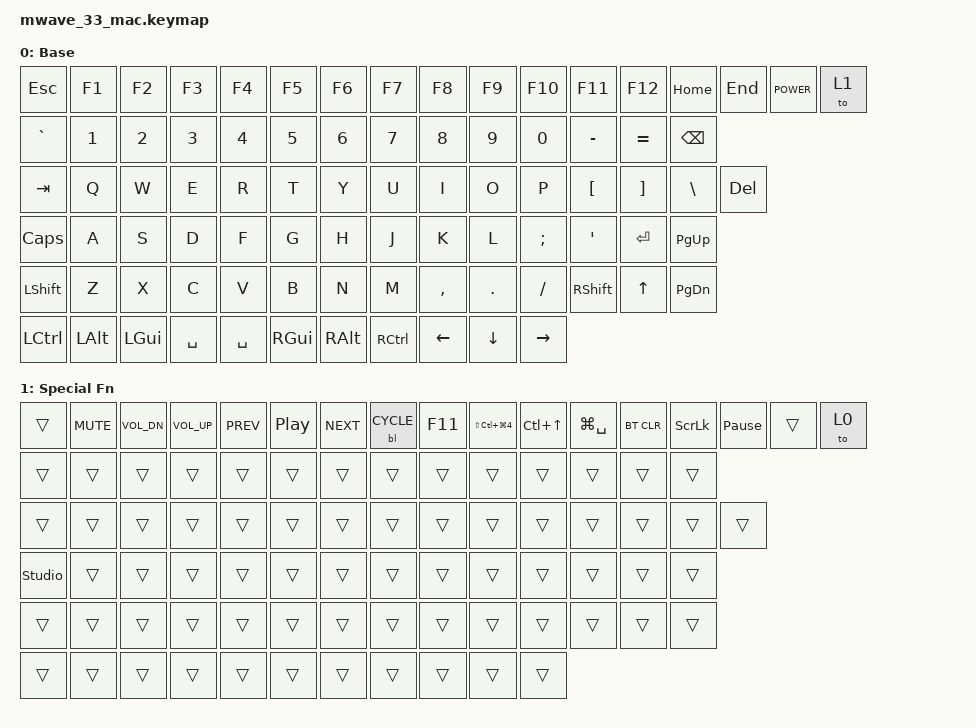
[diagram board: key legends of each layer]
#include <behaviors.dtsi>
#include <dt-bindings/zmk/backlight.h>
#include <dt-bindings/zmk/bt.h>
#include <dt-bindings/zmk/keys.h>
#include <dt-bindings/zmk/pointing.h>
#include <dt-bindings/zmk/outputs.h>
#include <dt-bindings/advertising_mode.h>
#include <behaviors/advertising_mode.dtsi>
#include <behaviors/stp_indicators.dtsi>
#include "studio-macros.dtsi"

/ {
    #include "mwave_prim.dtsi"

    keymap {
        compatible = "zmk,keymap";

        default_layer {
            display-name = "Base";

            // -------------------------------------------------------------------------------------------------------
            // | ESC | F1  | F2  | F3  | F4  | F5  | F6  | | F7  | F8  | F9  | F10 | F11 | F12 |HOME| END |PSCN|  1  |
            // |GRAVE|  1  |  2  |  3  |  4  |  5  |  6  | |   7   |  8  |  9  |  0  |  -  |  =  |    BKSP     | DEL |
            // | TAB    |  Q  |  W  |  E  |  R  |   T    | |   Y  |  U  |  I  |  O  |  P  |  [  |  ]  |   \    |     |
            // | CAPS     |  A  |  S  |  D  |  F  |  G   | |  H    |  J  |  K  |  L  |  ;  |  '  |    ENTER    | PGUP|
            // |   SHIFT   |  Z  |  X  |  C  |  V  |  B  | |    N    |  M  |  ,  |  .  |  /  |   SHIFT   | UP  | PGDN|
            // |  CTL  |  WIN  |  ALT  |      SPACE      | |      SPACE        | ALT | MENU |RCTRL| LEFT| DOWN |RIGHT|
            // -------------------------------------------------------------------------------------------------------

            bindings = <
&kp ESCAPE &kp F1        &kp F2        &kp F3        &kp F4     &kp F5         &kp F6         &kp F7     &kp F8     &kp F9    &kp F10    &kp F11    &kp F12    &kp HOME   &kp END  &kp K_POWER  &to 1
&kp GRAVE  &kp N1        &kp N2        &kp N3        &kp N4     &kp N5         &kp N6         &kp N7     &kp N8     &kp N9    &kp N0     &kp MINUS  &kp EQUAL  &kp BSPC
&kp TAB    &kp Q         &kp W         &kp E         &kp R      &kp T          &kp Y          &kp U      &kp I      &kp O     &kp P      &kp LBKT   &kp RBKT   &kp BSLH   &kp DEL
&kp CLCK   &kp A         &kp S         &kp D         &kp F      &kp G          &kp H          &kp J      &kp K      &kp L     &kp SEMI   &kp SQT    &kp RET    &kp PG_UP
&kp LSHFT  &kp Z         &kp X         &kp C         &kp V      &kp B          &kp N          &kp M      &kp COMMA  &kp DOT   &kp FSLH   &kp RSHFT  &kp UP     &kp PG_DN
&kp LCTRL  &kp LEFT_ALT  &kp LEFT_GUI  &kp SPACE     &kp SPACE  &kp RIGHT_GUI  &kp RIGHT_ALT  &kp RCTRL  &kp LEFT   &kp DOWN  &kp RIGHT
            >;
        };

        raise {
            display-name = "Special Fn";
            bindings = <
&trans          &kp C_MUTE  &kp C_VOL_DN  &kp C_VOL_UP  &kp C_PREV  &kp C_PP  &kp C_NEXT  &bl BL_CYCLE  &kp F11  &kp LS(LC(LG(NUMBER_4)))  &kp LC(UP_ARROW)  &kp LG(SPACE)  &bt BT_CLR  &kp SCROLLLOCK  &kp PAUSE_BREAK  &trans  &to 0
&trans          &trans      &trans        &trans        &trans      &trans    &trans      &trans        &trans   &trans                    &trans            &trans         &trans      &trans
&trans          &trans      &trans        &trans        &trans      &trans    &trans      &trans        &trans   &trans                    &trans            &trans         &trans      &trans          &trans
&studio_unlock  &trans      &trans        &trans        &trans      &trans    &trans      &trans        &trans   &trans                    &trans            &trans         &trans      &trans
&trans          &trans      &trans        &trans        &trans      &trans    &trans      &trans        &trans   &trans                    &trans            &trans         &trans      &trans
&trans          &trans      &trans        &trans        &trans      &trans    &trans      &trans        &trans   &trans                    &trans
            >;
        };

        extra1 {
            display-name = "Blue";
            status = "reserved";
        };

        extra2 {
            display-name = "Green";
            status = "reserved";
        };

        extra3 {
            display-name = "Red";
            status = "reserved";
        };

        extra4 {
            display-name = "Purple";
            status = "reserved";
        };

        extra5 {
            display-name = "Cyan";
            status = "reserved";
        };

        extra6 {
            display-name = "Yellow";
            status = "reserved";
        };
    };
};
